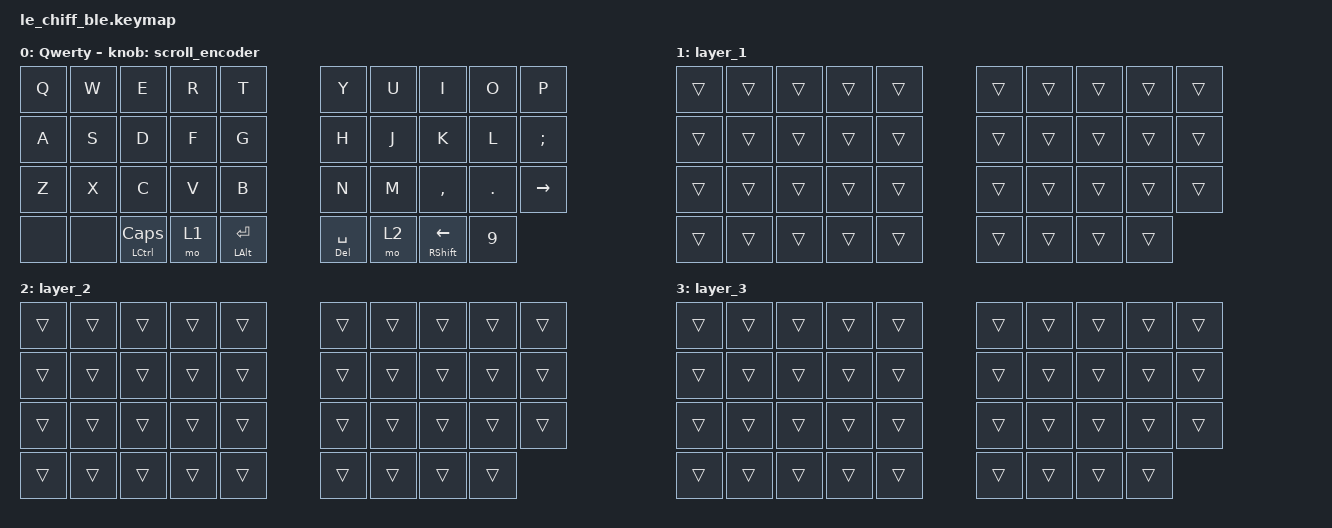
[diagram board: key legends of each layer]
/*
 * Copyright (c) 2021 @MangoIV
 *
 * SPDX-License-Identifier: MIT
 */

#define ZMK_MOUSE_DEFAULT_SCRL_VAL 35 // 10

#include <behaviors/mouse_keys.dtsi>
#include <dt-bindings/zmk/mouse.h>
#include <input/processors.dtsi>
#include <zephyr/dt-bindings/input/input-event-codes.h>
#include <behaviors.dtsi>
#include <dt-bindings/zmk/keys.h>
#include <dt-bindings/zmk/pointing.h>

&msc {
    acceleration-exponent = <0>;      // 0
    time-to-max-speed-ms = <0>;       // 300
    delay-ms = <0>;                   // 0
};

&mmv {
    time-to-max-speed-ms = <400>;
    acceleration-exponent = <1>;
};

/ {
    combos {
        compatible = "zmk,combos";

        combo_esc {
            timeout-ms = <50>;
            key-positions = <0 1>;
            bindings = <&kp ESC>;
        };

        op {
            bindings = <&kp BACKSPACE>;
            key-positions = <8 9>;
        };

        rt1 {
            bindings = <&kp NUMBER_1>;
            key-positions = <3 4>;
        };

        df2 {
            bindings = <&kp NUMBER_2>;
            key-positions = <12 13>;
        };

        fg3 {
            bindings = <&kp NUMBER_3>;
            key-positions = <13 14>;
        };

        cv44 {
            bindings = <&kp NUMBER_4>;
            key-positions = <22 23>;
        };

        vb5 {
            bindings = <&kp N5>;
            key-positions = <24 23>;
        };

        hj6 {
            bindings = <&kp NUMBER_6>;
            key-positions = <15 16>;
        };

        jk7 {
            bindings = <&kp N7>;
            key-positions = <16 17>;
        };

        kl8 {
            bindings = <&kp N8>;
            key-positions = <17 18>;
        };

        nm9 {
            bindings = <&kp N9>;
            key-positions = <25 26>;
        };

        m,0 {
            bindings = <&kp N0>;
            key-positions = <26 27>;
        };

        down {
            bindings = <&kp DOWN>;
            key-positions = <29 37>;
        };
    };

    macros {
        dongle_bootload_macro: bootload_macro {
            compatible = "zmk,behavior-macro";
            #binding-cells = <0>;
            bindings = <&bootloader>;
            label = "BOOTLOAD_MACRO";
        };
    };

    behaviors {
        hm: homerow_mods {
            compatible = "zmk,behavior-hold-tap";
            label = "HOMEROW_MODS";
            bindings = <&kp>, <&kp>;

            #binding-cells = <2>;
            tapping-term-ms = <200>;
            quick-tap-ms = <180>;
            flavor = "tap-preferred";
        };

        ltq: ltq {
            compatible = "zmk,behavior-hold-tap";
            label = "LTQ";
            bindings = <&mo>, <&kp>;

            #binding-cells = <2>;
            tapping-term-ms = <200>;
            quick-tap-ms = <180>;
        };

        as: auto_shift {
            compatible = "zmk,behavior-hold-tap";
            label = "AUTO_SHIFT";
            bindings = <&kp>, <&kp>;

            #binding-cells = <2>;
            tapping-term-ms = <135>;
            quick-tap-ms = <0>;
        };

        scroll_encoder: scroll_encoder {
            compatible = "zmk,behavior-sensor-rotate";
            #sensor-binding-cells = <0>;
            bindings = <&msc SCRL_UP>, <&msc SCRL_DOWN>;

            tap-ms = <100>;
        };
    };

    keymap {
        compatible = "zmk,keymap";

        Qwery {
            label = "Qwerty";
            bindings = <
&kp Q  &kp W  &kp E                      &kp R  &kp T               &kp Y             &kp U  &kp I                 &kp O    &kp P
&kp A  &kp S  &kp D                      &kp F  &kp G               &kp H             &kp J  &kp K                 &kp L    &kp SEMI
&kp Z  &kp X  &kp C                      &kp V  &kp B               &kp N             &kp M  &kp COMMA             &kp DOT  &kp RIGHT
&none  &none  &mt LEFT_CONTROL CAPSLOCK  &mo 1  &mt LEFT_ALT ENTER  &mt DELETE SPACE  &mo 2  &mt RIGHT_SHIFT LEFT  &kp N9
            >;

            sensor-bindings = <&scroll_encoder>;
        };

        layer_1 {
            bindings = <
&trans  &trans  &trans  &trans  &trans  &trans  &trans  &trans  &trans  &trans
&trans  &trans  &trans  &trans  &trans  &trans  &trans  &trans  &trans  &trans
&trans  &trans  &trans  &trans  &trans  &trans  &trans  &trans  &trans  &trans
&trans  &trans  &trans  &trans  &trans  &trans  &trans  &trans  &trans
            >;
        };

        layer_2 {
            bindings = <
&trans  &trans  &trans  &trans  &trans  &trans  &trans  &trans  &trans  &trans
&trans  &trans  &trans  &trans  &trans  &trans  &trans  &trans  &trans  &trans
&trans  &trans  &trans  &trans  &trans  &trans  &trans  &trans  &trans  &trans
&trans  &trans  &trans  &trans  &trans  &trans  &trans  &trans  &trans
            >;
        };

        layer_3 {
            bindings = <
&trans  &trans  &trans  &trans  &trans  &trans  &trans  &trans  &trans  &trans
&trans  &trans  &trans  &trans  &trans  &trans  &trans  &trans  &trans  &trans
&trans  &trans  &trans  &trans  &trans  &trans  &trans  &trans  &trans  &trans
&trans  &trans  &trans  &trans  &trans  &trans  &trans  &trans  &trans
            >;
        };
    };
};
